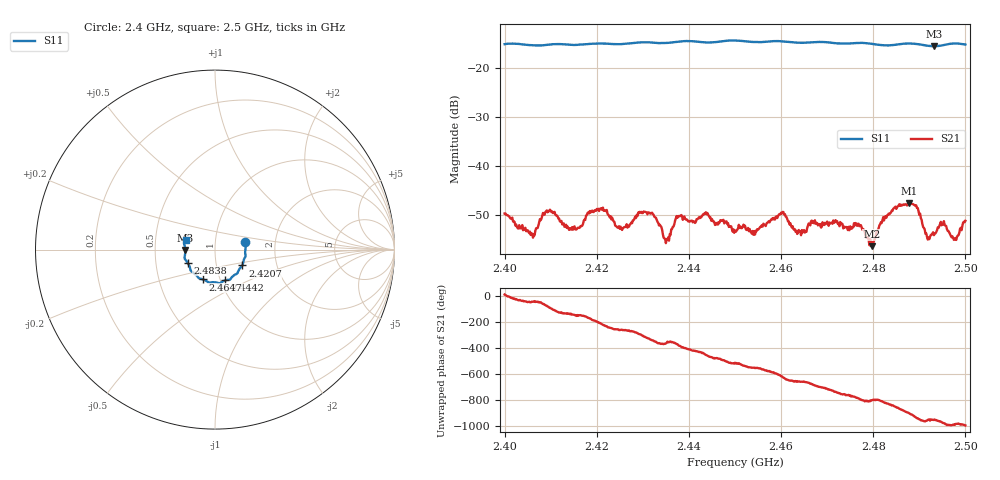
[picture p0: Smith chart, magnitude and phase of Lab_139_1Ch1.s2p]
# Hz S RI R 50
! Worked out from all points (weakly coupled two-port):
!   601 points, 2.4 GHz to 2.5 GHz, reference 50 ohm
!   highest |S21| = -47.59 dB at 2.4878 GHz (marker M1); lowest = -56.4 dB at 2.4797 GHz (marker M2)
!   lowest |S11| = -15.6 dB at 2.4932 GHz (marker M3), VSWR 1.40, Z = 35.8 - j0.148 ohm
!   |S11| at or under -10 dB: start of sweep to end of sweep
!   S12 and S22 are empty: the file has one direction only
!   S11 on the Smith chart (normalised r, x): 2.4 GHz: 1.40, +0.12; 2.4207 GHz: 1.33, -0.24; 2.4442 GHz: 1.05, -0.37; 2.4647 GHz: 0.83, -0.29; 2.4838 GHz: 0.73, -0.11; 2.5 GHz: 0.71, +0.08
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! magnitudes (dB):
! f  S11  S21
! 2.4 GHz  -15.2  -49.8
! 2.406 GHz  -15.4  -53.9
! 2.4095 GHz  -15.3  -49.2
! 2.4167 GHz  -15.3  -52.3
! 2.4207 GHz  -15.1  -48.8
! 2.425 GHz  -15.2  -52.9
! 2.4333 GHz  -15.0  -51.6
! 2.4352 GHz  -15.0  -55.0
! 2.4378 GHz  -14.7  -50.3
! 2.4442 GHz  -14.9  -50.0
! 2.45 GHz  -14.5  -53.2
! 2.4602 GHz  -14.6  -49.8
! 2.4647 GHz  -14.9  -53.6
! 2.4667 GHz  -14.8  -51.2
! 2.4767 GHz  -15.0  -51.9
! 2.4797 GHz  -15.1  -56.4
! 2.4833 GHz  -15.5  -49.8
! 2.4838 GHz  -15.4  -49.6
! 2.4878 GHz  -15.1  -47.6
! 2.4932 GHz  -15.6  -54.2
! 2.4978 GHz  -15.1  -54.8
! 2.5 GHz  -15.3  -51.2
